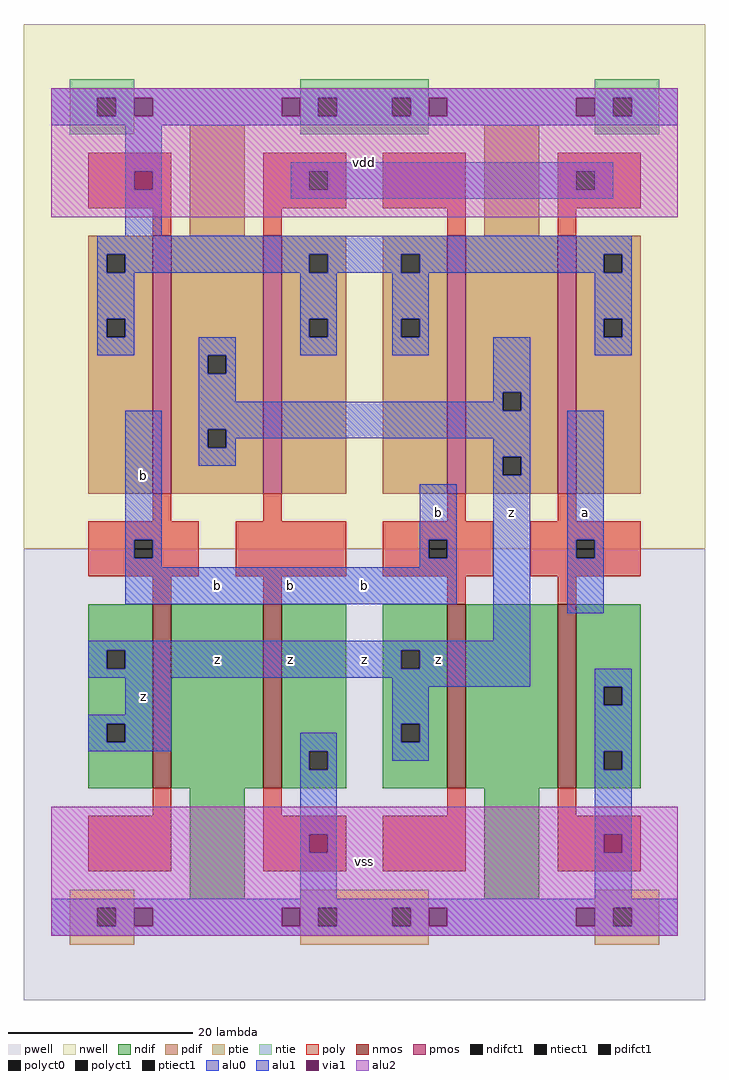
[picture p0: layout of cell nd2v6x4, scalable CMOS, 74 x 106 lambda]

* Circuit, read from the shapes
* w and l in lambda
.subckt nd2v6x4 a b vdd vss z
M1 n1 b z vss nfet w=20 l=2
M2 vss a n1 vss nfet w=20 l=2
M3 n2 b z vss nfet w=20 l=2
M4 vss a n2 vss nfet w=20 l=2
M5 z b vdd vdd pfet w=28 l=2 m=2
M6 vdd a z vdd pfet w=28 l=2 m=2
.ends

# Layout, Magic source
magic
tech scmos
<< nwell >>
rect -5 40 69 97
<< pwell >>
rect -5 -9 69 40
<< poly >>
rect 2 77 11 83
rect 9 74 11 77
rect 21 81 30 83
rect 21 79 26 81
rect 28 79 30 81
rect 21 77 30 79
rect 34 77 43 83
rect 21 74 23 77
rect 41 74 43 77
rect 53 81 62 83
rect 53 79 55 81
rect 57 79 62 81
rect 53 77 62 79
rect 53 74 55 77
rect 9 43 11 46
rect 21 43 23 46
rect 41 43 43 46
rect 53 43 55 46
rect 2 41 14 43
rect 2 39 7 41
rect 9 39 14 41
rect 2 37 14 39
rect 18 37 30 43
rect 34 41 46 43
rect 34 39 39 41
rect 41 39 46 41
rect 34 37 46 39
rect 50 41 62 43
rect 50 39 55 41
rect 57 39 62 41
rect 50 37 62 39
rect 9 34 11 37
rect 21 34 23 37
rect 41 34 43 37
rect 53 34 55 37
rect 9 11 11 14
rect 2 5 11 11
rect 21 11 23 14
rect 41 11 43 14
rect 21 5 30 11
rect 34 5 43 11
rect 53 11 55 14
rect 53 5 62 11
<< ndif >>
rect 2 29 9 34
rect 2 27 4 29
rect 6 27 9 29
rect 2 21 9 27
rect 2 19 4 21
rect 6 19 9 21
rect 2 14 9 19
rect 11 14 21 34
rect 23 18 30 34
rect 23 16 26 18
rect 28 16 30 18
rect 23 14 30 16
rect 34 29 41 34
rect 34 27 36 29
rect 38 27 41 29
rect 34 21 41 27
rect 34 19 36 21
rect 38 19 41 21
rect 34 14 41 19
rect 43 14 53 34
rect 55 25 62 34
rect 55 23 58 25
rect 60 23 62 25
rect 55 18 62 23
rect 55 16 58 18
rect 60 16 62 18
rect 55 14 62 16
rect 13 2 19 14
rect 45 2 51 14
<< pdif >>
rect 13 74 19 86
rect 45 74 51 86
rect 2 72 9 74
rect 2 70 4 72
rect 6 70 9 72
rect 2 65 9 70
rect 2 63 4 65
rect 6 63 9 65
rect 2 46 9 63
rect 11 61 21 74
rect 11 59 15 61
rect 17 59 21 61
rect 11 53 21 59
rect 11 51 15 53
rect 17 51 21 53
rect 11 46 21 51
rect 23 72 30 74
rect 23 70 26 72
rect 28 70 30 72
rect 23 65 30 70
rect 23 63 26 65
rect 28 63 30 65
rect 23 46 30 63
rect 34 72 41 74
rect 34 70 36 72
rect 38 70 41 72
rect 34 65 41 70
rect 34 63 36 65
rect 38 63 41 65
rect 34 46 41 63
rect 43 57 53 74
rect 43 55 47 57
rect 49 55 53 57
rect 43 50 53 55
rect 43 48 47 50
rect 49 48 53 50
rect 43 46 53 48
rect 55 72 62 74
rect 55 70 58 72
rect 60 70 62 72
rect 55 65 62 70
rect 55 63 58 65
rect 60 63 62 65
rect 55 46 62 63
<< alu1 >>
rect -2 89 66 90
rect -2 87 3 89
rect 5 87 7 89
rect 9 87 23 89
rect 25 87 27 89
rect 29 87 35 89
rect 37 87 39 89
rect 41 87 55 89
rect 57 87 59 89
rect 61 87 66 89
rect -2 86 66 87
rect 6 81 10 86
rect 6 79 7 81
rect 9 79 10 81
rect 6 74 10 79
rect 3 72 61 74
rect 3 70 4 72
rect 6 70 26 72
rect 28 70 36 72
rect 38 70 58 72
rect 60 70 61 72
rect 3 65 7 70
rect 3 63 4 65
rect 6 63 7 65
rect 25 65 29 70
rect 25 63 26 65
rect 28 63 29 65
rect 3 61 7 63
rect 14 61 18 63
rect 25 61 29 63
rect 35 65 39 70
rect 35 63 36 65
rect 38 63 39 65
rect 57 65 61 70
rect 57 63 58 65
rect 60 63 61 65
rect 35 61 39 63
rect 14 59 15 61
rect 17 59 18 61
rect 14 56 18 59
rect 46 57 50 63
rect 57 61 61 63
rect 46 56 47 57
rect 14 55 47 56
rect 49 55 50 57
rect 6 41 10 55
rect 14 53 50 55
rect 14 51 15 53
rect 17 52 50 53
rect 17 51 18 52
rect 14 49 18 51
rect 46 50 50 52
rect 46 48 47 50
rect 49 48 50 50
rect 6 39 7 41
rect 9 39 10 41
rect 6 38 10 39
rect 38 41 42 47
rect 38 39 39 41
rect 41 39 42 41
rect 38 38 42 39
rect 6 34 42 38
rect 46 30 50 48
rect 54 41 58 55
rect 54 39 55 41
rect 57 39 58 41
rect 54 33 58 39
rect 2 29 50 30
rect 2 27 4 29
rect 6 27 36 29
rect 38 27 50 29
rect 2 26 50 27
rect 6 22 11 26
rect 2 21 11 22
rect 2 19 4 21
rect 6 19 11 21
rect 35 25 50 26
rect 57 25 61 27
rect 35 21 39 25
rect 2 18 11 19
rect 25 18 29 20
rect 25 16 26 18
rect 28 16 29 18
rect 35 19 36 21
rect 38 19 39 21
rect 35 17 39 19
rect 57 23 58 25
rect 60 23 61 25
rect 57 18 61 23
rect 25 9 29 16
rect 25 7 26 9
rect 28 7 29 9
rect 25 2 29 7
rect 57 16 58 18
rect 60 16 61 18
rect 57 9 61 16
rect 57 7 58 9
rect 60 7 61 9
rect 57 2 61 7
rect -2 1 66 2
rect -2 -1 3 1
rect 5 -1 7 1
rect 9 -1 23 1
rect 25 -1 27 1
rect 29 -1 35 1
rect 37 -1 39 1
rect 41 -1 55 1
rect 57 -1 59 1
rect 61 -1 66 1
rect -2 -2 66 -1
<< alu2 >>
rect -2 89 66 90
rect -2 87 7 89
rect 9 87 23 89
rect 25 87 39 89
rect 41 87 55 89
rect 57 87 66 89
rect -2 81 66 87
rect -2 79 7 81
rect 9 79 66 81
rect -2 76 66 79
rect -2 9 66 12
rect -2 7 26 9
rect 28 7 58 9
rect 60 7 66 9
rect -2 1 66 7
rect -2 -1 7 1
rect 9 -1 23 1
rect 25 -1 39 1
rect 41 -1 55 1
rect 57 -1 66 1
rect -2 -2 66 -1
<< ptie >>
rect 0 1 7 3
rect 0 -1 3 1
rect 5 -1 7 1
rect 0 -3 7 -1
rect 25 1 39 3
rect 25 -1 27 1
rect 29 -1 35 1
rect 37 -1 39 1
rect 25 -3 39 -1
rect 57 1 64 3
rect 57 -1 59 1
rect 61 -1 64 1
rect 57 -3 64 -1
<< ntie >>
rect 0 89 7 91
rect 0 87 3 89
rect 5 87 7 89
rect 0 85 7 87
rect 25 89 39 91
rect 25 87 27 89
rect 29 87 35 89
rect 37 87 39 89
rect 25 85 39 87
rect 57 89 64 91
rect 57 87 59 89
rect 61 87 64 89
rect 57 85 64 87
<< nmos >>
rect 9 14 11 34
rect 21 14 23 34
rect 41 14 43 34
rect 53 14 55 34
<< pmos >>
rect 9 46 11 74
rect 21 46 23 74
rect 41 46 43 74
rect 53 46 55 74
<< polyct0 >>
rect 26 79 28 81
rect 55 79 57 81
<< polyct1 >>
rect 7 39 9 41
rect 39 39 41 41
rect 55 39 57 41
<< ndifct1 >>
rect 4 27 6 29
rect 4 19 6 21
rect 26 16 28 18
rect 36 27 38 29
rect 36 19 38 21
rect 58 23 60 25
rect 58 16 60 18
<< ntiect1 >>
rect 3 87 5 89
rect 27 87 29 89
rect 35 87 37 89
rect 59 87 61 89
<< ptiect1 >>
rect 3 -1 5 1
rect 27 -1 29 1
rect 35 -1 37 1
rect 59 -1 61 1
<< pdifct1 >>
rect 4 70 6 72
rect 4 63 6 65
rect 15 59 17 61
rect 15 51 17 53
rect 26 70 28 72
rect 26 63 28 65
rect 36 70 38 72
rect 36 63 38 65
rect 47 55 49 57
rect 47 48 49 50
rect 58 70 60 72
rect 58 63 60 65
<< alu0 >>
rect 24 81 59 82
rect 24 79 26 81
rect 28 79 55 81
rect 57 79 59 81
rect 24 78 59 79
<< via1 >>
rect 7 87 9 89
rect 23 87 25 89
rect 39 87 41 89
rect 55 87 57 89
rect 7 79 9 81
rect 26 7 28 9
rect 58 7 60 9
rect 7 -1 9 1
rect 23 -1 25 1
rect 39 -1 41 1
rect 55 -1 57 1
<< labels >>
rlabel alu1 8 24 8 24 6 z
rlabel alu1 8 48 8 48 6 b
rlabel alu1 16 28 16 28 6 z
rlabel alu1 16 36 16 36 6 b
rlabel alu1 24 36 24 36 6 b
rlabel alu1 24 28 24 28 6 z
rlabel alu1 32 28 32 28 6 z
rlabel alu1 32 36 32 36 6 b
rlabel alu1 40 28 40 28 6 z
rlabel alu1 40 44 40 44 6 b
rlabel alu1 56 44 56 44 6 a
rlabel alu1 48 44 48 44 6 z
rlabel alu2 32 6 32 6 6 vss
rlabel alu2 32 82 32 82 6 vdd
<< end >>
